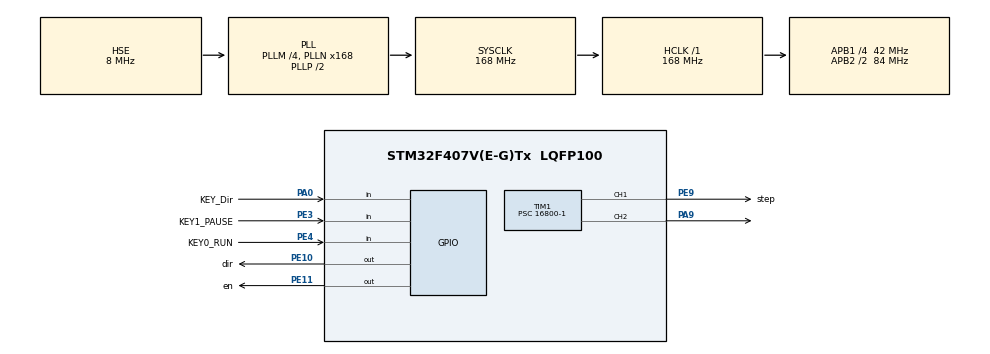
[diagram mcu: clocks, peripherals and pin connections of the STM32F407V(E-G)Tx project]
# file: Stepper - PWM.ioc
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Mcu.Family=STM32F4
Mcu.Name=STM32F407V(E-G)Tx
Mcu.Package=LQFP100
NVIC.PriorityGroup=NVIC_PRIORITYGROUP_4
NVIC.TIM1_CC_IRQn=true\:0\:0\:false\:false\:true\:true\:true\:true
PA0-WKUP.GPIO_Label=KEY_Dir
PA0-WKUP.GPIO_PuPd=GPIO_PULLDOWN
PA0-WKUP.Signal=GPIO_Input
PA13.Mode=Serial_Wire
PA13.Signal=SYS_JTMS-SWDIO
PA14.Mode=Serial_Wire
PA14.Signal=SYS_JTCK-SWCLK
PA9.Signal=S_TIM1_CH2
PE10.GPIO_Label=dir
PE10.Signal=GPIO_Output
PE11.GPIO_Label=en
PE11.Signal=GPIO_Output
PE3.GPIO_Label=KEY1_PAUSE
PE3.GPIO_PuPd=GPIO_PULLUP
PE3.Signal=GPIO_Input
PE4.GPIO_Label=KEY0_RUN
PE4.GPIO_PuPd=GPIO_PULLUP
PE4.Signal=GPIO_Input
PE9.GPIO_Label=step
PE9.Signal=S_TIM1_CH1
PH0-OSC_IN.Mode=HSE-External-Oscillator
PH0-OSC_IN.Signal=RCC_OSC_IN
PH1-OSC_OUT.Mode=HSE-External-Oscillator
PH1-OSC_OUT.Signal=RCC_OSC_OUT
ProjectManager.HeapSize=0x200
ProjectManager.StackSize=0x400
ProjectManager.TargetToolchain=MDK-ARM V5
RCC.48MHZClocksFreq_Value=84000000
RCC.AHBFreq_Value=168000000
RCC.APB1CLKDivider=RCC_HCLK_DIV4
RCC.APB1Freq_Value=42000000
RCC.APB1TimFreq_Value=84000000
RCC.APB2CLKDivider=RCC_HCLK_DIV2
RCC.APB2Freq_Value=84000000
RCC.APB2TimFreq_Value=168000000
RCC.CortexFreq_Value=168000000
RCC.HCLKFreq_Value=168000000
RCC.HSE_VALUE=8000000
RCC.HSI_VALUE=16000000
RCC.LSE_VALUE=32768
RCC.PLLM=4
RCC.PLLN=168
RCC.PLLSourceVirtual=RCC_PLLSOURCE_HSE
RCC.SYSCLKFreq_VALUE=168000000
RCC.SYSCLKSource=RCC_SYSCLKSOURCE_PLLCLK
RCC.VCOOutputFreq_Value=336000000
SH.S_TIM1_CH1.0=TIM1_CH1,PWM Generation1 CH1
SH.S_TIM1_CH2.0=TIM1_CH2,Output Compare2 CH2
TIM1.Channel-Output\ Compare2\ CH2=TIM_CHANNEL_2
TIM1.Channel-PWM\ Generation1\ CH1=TIM_CHANNEL_1
TIM1.OCMode_2=TIM_OCMODE_TOGGLE
TIM1.Period=1000-1
TIM1.Prescaler=16800-1
TIM1.Pulse-PWM\ Generation1\ CH1=499
VP_TIM1_VS_ClockSourceINT.Mode=Internal
board=custom

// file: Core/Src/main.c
/* USER CODE BEGIN Header */
/**
  ******************************************************************************
  * @file           : main.c
  * @brief          : Main program body
  ******************************************************************************
  * @attention
  *
  * Copyright (c) 2023 STMicroelectronics.
  * All rights reserved.
  *
  * This software is licensed under terms that can be found in the LICENSE file
  * in the root directory of this software component.
  * If no LICENSE file comes with this software, it is provided AS-IS.
  *
  ******************************************************************************
  */
/* USER CODE END Header */
#include "main.h"
#include "tim.h"
#include "gpio.h"

/* USER CODE BEGIN Includes */
#include <stdio.h>
/* USER CODE END Includes */

void SystemClock_Config(void);

/* USER CODE BEGIN 0 */
uint16_t i = 0;
void HAL_TIM_OC_DelayElapsedCallback(TIM_HandleTypeDef *htim)
{
   if(htim->Channel == HAL_TIM_ACTIVE_CHANNEL_2)
   {
		 printf("TIM_1 OC HAL_TIM_ACTIVE_CHANNEL_2 %d \n", i);
			i ++;
			if (i == 200) // Mot vong quay 200 Step (1.8 DEG/ STEP)
			{
//				i=0;
				HAL_GPIO_TogglePin(dir_GPIO_Port, dir_Pin);
//				HAL_GPIO_WritePin(en_GPIO_Port, en_Pin, GPIO_PIN_SET);
			}
//			else if (i == 300) // Tam dung 25 Step (1.8 DEG/ STEP)
//			{
//				i=0;
//				HAL_GPIO_WritePin(en_GPIO_Port, en_Pin, GPIO_PIN_RESET);
//			}
	}
  /* Prevent unused argument(s) compilation warning */
  UNUSED(htim);

  /* NOTE : This function should not be modified, when the callback is needed,
            the HAL_TIM_PeriodElapsedCallback could be implemented in the user file
   */
}
void HAL_TIM_PWM_PulseFinishedCallback(TIM_HandleTypeDef *htim)
{
	 if(htim->Channel == HAL_TIM_ACTIVE_CHANNEL_1)
   {
			printf("TIM_1 PWM HAL_TIM_ACTIVE_CHANNEL_1 %d \n", i);
	 }
  /* Prevent unused argument(s) compilation warning */
  UNUSED(htim);

  /* NOTE : This function should not be modified, when the callback is needed,
            the HAL_TIM_PWM_PulseFinishedCallback could be implemented in the user file
   */
}

/* USER CODE END 0 */

int main(void)
{

  /* MCU Configuration--------------------------------------------------------*/

  /* Reset of all peripherals, Initializes the Flash interface and the Systick. */
  HAL_Init();

  /* Configure the system clock */
  SystemClock_Config();

  /* Initialize all configured peripherals */
  MX_GPIO_Init();
  MX_TIM1_Init();
  /* USER CODE BEGIN 2 */
	HAL_TIM_PWM_Start_IT(&htim1, TIM_CHANNEL_1);
	HAL_TIM_OC_Start_IT(&htim1,TIM_CHANNEL_2);
  /* USER CODE END 2 */

  /* Infinite loop */
  /* USER CODE BEGIN WHILE */
  HAL_GPIO_WritePin(dir_GPIO_Port, dir_Pin, GPIO_PIN_SET);
  HAL_GPIO_WritePin(en_GPIO_Port, en_Pin, GPIO_PIN_SET);
  while (1)
  {
    /* USER CODE END WHILE */

    /* USER CODE BEGIN 3 */
		if	(HAL_GPIO_ReadPin(KEY0_RUN_GPIO_Port, KEY0_RUN_Pin) == 0)
		{
			HAL_Delay(20);
			if	(HAL_GPIO_ReadPin(KEY0_RUN_GPIO_Port, KEY0_RUN_Pin) == 0)
			{
				HAL_GPIO_WritePin(en_GPIO_Port, en_Pin, GPIO_PIN_RESET);
			}
		}

		if	(HAL_GPIO_ReadPin(KEY1_PAUSE_GPIO_Port, KEY1_PAUSE_Pin) == 0)
		{
			HAL_Delay(20);
			if	(HAL_GPIO_ReadPin(KEY1_PAUSE_GPIO_Port, KEY1_PAUSE_Pin) == 0)
			{
//				HAL_GPIO_TogglePin(en_GPIO_Port, en_Pin); // khong su dung vi no dao lai trang thai no se quay tiep tuc
				HAL_GPIO_WritePin(en_GPIO_Port, en_Pin, GPIO_PIN_SET);
			}
		}
  }
  /* USER CODE END 3 */
}

void SystemClock_Config(void)
{
  RCC_OscInitTypeDef RCC_OscInitStruct = {0};
  RCC_ClkInitTypeDef RCC_ClkInitStruct = {0};

  /** Configure the main internal regulator output voltage
  */
  __HAL_RCC_PWR_CLK_ENABLE();
  __HAL_PWR_VOLTAGESCALING_CONFIG(PWR_REGULATOR_VOLTAGE_SCALE1);

  /** Initializes the RCC Oscillators according to the specified parameters
  * in the RCC_OscInitTypeDef structure.
  */
  RCC_OscInitStruct.OscillatorType = RCC_OSCILLATORTYPE_HSE;
  RCC_OscInitStruct.HSEState = RCC_HSE_ON;
  RCC_OscInitStruct.PLL.PLLState = RCC_PLL_ON;
  RCC_OscInitStruct.PLL.PLLSource = RCC_PLLSOURCE_HSE;
  RCC_OscInitStruct.PLL.PLLM = 4;
  RCC_OscInitStruct.PLL.PLLN = 168;
  RCC_OscInitStruct.PLL.PLLP = RCC_PLLP_DIV2;
  RCC_OscInitStruct.PLL.PLLQ = 4;
  if (HAL_RCC_OscConfig(&RCC_OscInitStruct) != HAL_OK)
  {
    Error_Handler();
  }

  /** Initializes the CPU, AHB and APB buses clocks
  */
  RCC_ClkInitStruct.ClockType = RCC_CLOCKTYPE_HCLK|RCC_CLOCKTYPE_SYSCLK
                              |RCC_CLOCKTYPE_PCLK1|RCC_CLOCKTYPE_PCLK2;
  RCC_ClkInitStruct.SYSCLKSource = RCC_SYSCLKSOURCE_PLLCLK;
  RCC_ClkInitStruct.AHBCLKDivider = RCC_SYSCLK_DIV1;
  RCC_ClkInitStruct.APB1CLKDivider = RCC_HCLK_DIV4;
  RCC_ClkInitStruct.APB2CLKDivider = RCC_HCLK_DIV2;

  if (HAL_RCC_ClockConfig(&RCC_ClkInitStruct, FLASH_LATENCY_5) != HAL_OK)
  {
    Error_Handler();
  }
}

void Error_Handler(void)
{
  __disable_irq();
  while (1)
  {
  }
}
